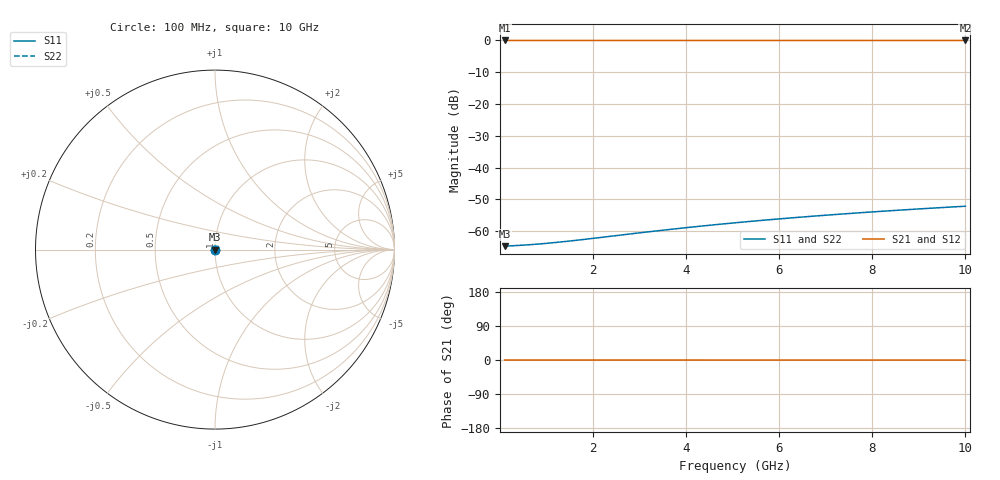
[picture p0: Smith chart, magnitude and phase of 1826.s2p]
# Hz S RI R 50.00
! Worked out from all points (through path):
!   100 points, 100 MHz to 10 GHz, reference 50 ohm
!   highest |S21| = -0.01 dB at 100 MHz (marker M1); lowest = 0.0 dB at 10 GHz (marker M2)
!   lowest |S11| = -64.7 dB at 100 MHz (marker M3), VSWR 1.00, Z = 50.1 + j0.00239 ohm
!   |S11| at or under -10 dB: start of sweep to end of sweep
!   |S22| runs from -64.7 to -52.1 dB; largest |S21 - S12| = 0
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1e8  0.000582 2.39e-05  0.9994 -3.3e-05  0.9994 -3.3e-05  0.000582 2.39e-05
5e8  0.000592 0.000119  0.9994 -0.000165  0.9994 -0.000165  0.000592 0.000119
7e8  0.000596 0.000167  0.9994 -0.000231  0.9994 -0.000231  0.000596 0.000167
9e8  0.000598 0.000215  0.9994 -0.000297  0.9994 -0.000297  0.000598 0.000215
1.1e9  0.0006 0.000263  0.9994 -0.000363  0.9994 -0.000363  0.0006 0.000263
1.3e9  0.000602 0.00031  0.9994 -0.000429  0.9994 -0.000429  0.000602 0.00031
1.5e9  0.000604 0.000358  0.9994 -0.000495  0.9994 -0.000495  0.000604 0.000358
1.8e9  0.000606 0.00043  0.9994 -0.000595  0.9994 -0.000595  0.000606 0.00043
2.9e9  0.000613 0.000692  0.9994 -0.000958  0.9994 -0.000958  0.000613 0.000692
3.4e9  0.000615 0.000811  0.9994 -0.00112  0.9994 -0.00112  0.000615 0.000811
3.9e9  0.000618 0.000931  0.9994 -0.00129  0.9994 -0.00129  0.000618 0.000931
4.3e9  0.000619 0.00103  0.9994 -0.00142  0.9994 -0.00142  0.000619 0.00103
4.7e9  0.000621 0.00112  0.9994 -0.00155  0.9994 -0.00155  0.000621 0.00112
5.1e9  0.000623 0.00122  0.9994 -0.00168  0.9994 -0.00168  0.000623 0.00122
5.5e9  0.000624 0.00131  0.9994 -0.00182  0.9994 -0.00182  0.000624 0.00131
5.9e9  0.000626 0.00141  0.9994 -0.00195  0.9994 -0.00195  0.000626 0.00141
6.3e9  0.000627 0.0015  0.9994 -0.00208  0.9994 -0.00208  0.000627 0.0015
6.7e9  0.000629 0.0016  0.9994 -0.00221  0.9994 -0.00221  0.000629 0.0016
7.5e9  0.000631 0.00179  0.9994 -0.00248  0.9994 -0.00248  0.000631 0.00179
8.4e9  0.000635 0.00201  0.9994 -0.00278  0.9994 -0.00278  0.000635 0.00201
9.2e9  0.000638 0.0022  0.9994 -0.00304  0.9994 -0.00304  0.000638 0.0022
1e10  0.000641 0.00239  0.9994 -0.00331  0.9994 -0.00331  0.000641 0.00239
